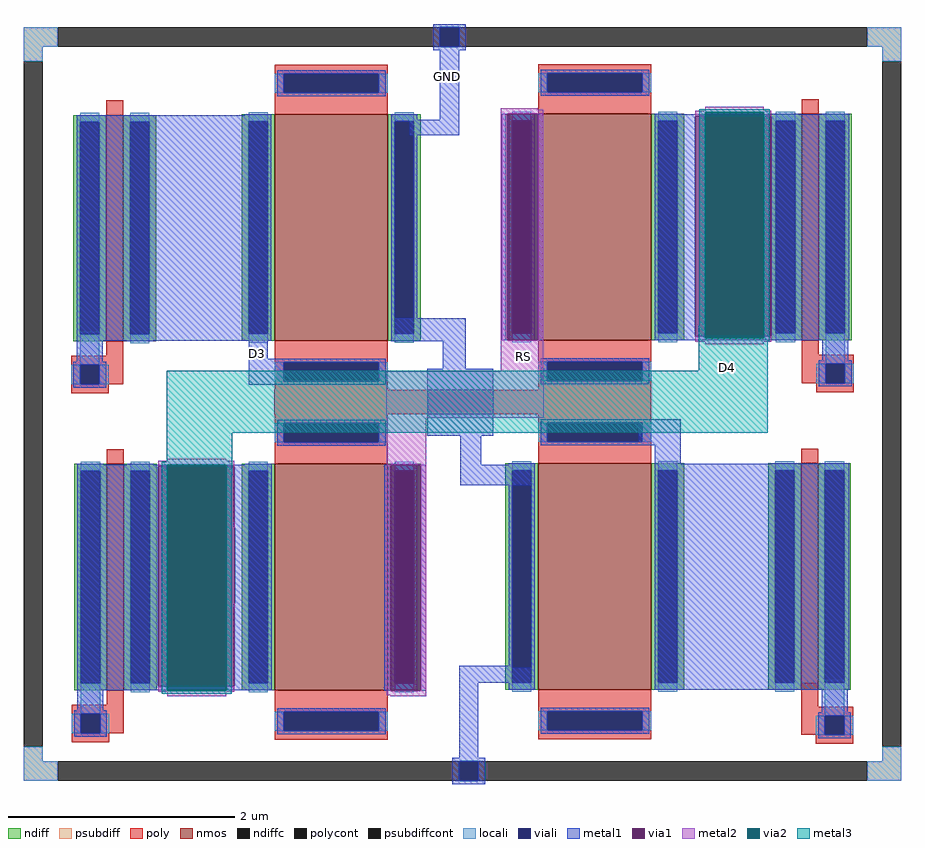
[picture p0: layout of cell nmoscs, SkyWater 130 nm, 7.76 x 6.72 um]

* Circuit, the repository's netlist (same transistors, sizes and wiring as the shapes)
** sch_path: /home/deboradmk/opamp/mag/nmoscs.sch
.subckt nmoscs D4 D3 RS GND
*.PININFO RS:B D4:B D3:B GND:B
XM3 D3 D3 GND GND sky130_fd_pr__nfet_01v8 L=1 W=2 nf=1 m=2
XM4 D4 D3 RS GND sky130_fd_pr__nfet_01v8 L=1 W=2 nf=1 m=2
XM1 D3 D3 D3 GND sky130_fd_pr__nfet_01v8 L=0.15 W=2 nf=1 m=2
XM2 D4 D4 D4 GND sky130_fd_pr__nfet_01v8 L=0.15 W=2 nf=1 m=2
.ends
.end

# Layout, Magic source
magic
tech sky130A
magscale 1 2
<< psubdiff >>
rect -386 1226 -326 1260
rect 1106 1226 1166 1260
rect -386 1200 -352 1226
rect 1132 1200 1166 1226
rect -386 -38 -352 -12
rect 1132 -38 1166 -12
rect -386 -72 -326 -38
rect 1106 -72 1166 -38
<< psubdiffcont >>
rect -326 1226 1106 1260
rect -386 -12 -352 1200
rect 1132 -12 1166 1200
rect -326 -72 1106 -38
<< poly >>
rect -240 679 -210 705
rect -302 663 -210 679
rect -302 629 -286 663
rect -252 629 -210 663
rect 990 681 1020 707
rect 990 665 1082 681
rect 990 631 1032 665
rect 1066 631 1082 665
rect -302 613 -236 629
rect 57 576 724 619
rect 1016 615 1082 631
rect -239 62 -209 88
rect -301 46 -209 62
rect -301 12 -285 46
rect -251 12 -209 46
rect 989 59 1019 101
rect 989 43 1081 59
rect -301 -4 -235 12
rect 989 9 1031 43
rect 1065 9 1081 43
rect 1015 -7 1081 9
<< polycont >>
rect -286 629 -252 663
rect 1032 631 1066 665
rect -285 12 -251 46
rect 1031 9 1065 43
<< locali >>
rect -386 1226 -326 1260
rect 1106 1226 1166 1260
rect -386 1200 -352 1226
rect 1132 1200 1166 1226
rect -286 663 -252 722
rect 1032 665 1066 723
rect -302 629 -286 663
rect -252 629 -236 663
rect 1016 631 1032 665
rect 1066 631 1082 665
rect 1032 630 1066 631
rect -285 46 -251 104
rect -301 12 -285 46
rect -251 12 -235 46
rect 1031 43 1065 106
rect 1015 9 1031 43
rect 1065 9 1081 43
rect -386 -38 -352 -12
rect 1132 -38 1166 -12
rect -386 -72 -326 -38
rect 1106 -72 1166 -38
<< viali >>
rect 350 1226 384 1260
rect -286 629 -252 663
rect 1032 631 1066 665
rect -285 12 -251 46
rect 1031 9 1065 43
rect 384 -72 418 -38
<< metal1 >>
rect 338 1260 396 1266
rect 338 1226 350 1260
rect 384 1226 396 1260
rect 338 1220 396 1226
rect -292 706 52 1105
rect 350 1097 384 1220
rect 297 1069 384 1097
rect -292 669 -246 706
rect 12 674 46 706
rect 264 705 396 746
rect 459 707 469 1107
rect 523 707 533 1107
rect 730 1103 1074 1106
rect 730 714 802 1103
rect 936 714 1074 1103
rect 730 707 1074 714
rect -298 663 -240 669
rect -298 629 -286 663
rect -252 629 -240 663
rect -298 623 -240 629
rect 12 628 74 674
rect 355 656 396 705
rect 1026 671 1072 707
rect 1020 665 1078 671
rect 328 538 444 656
rect 1020 631 1032 665
rect 1066 631 1078 665
rect 1020 625 1078 631
rect 386 487 423 538
rect 702 521 776 567
rect 730 488 776 521
rect -291 484 53 487
rect -291 95 -148 484
rect -14 375 53 484
rect -13 242 53 375
rect -14 95 53 242
rect -291 88 53 95
rect -291 52 -245 88
rect 252 87 262 487
rect 316 87 326 487
rect 386 450 518 487
rect 384 128 477 131
rect 384 101 512 128
rect -297 46 -239 52
rect -297 12 -285 46
rect -251 12 -239 46
rect -297 6 -239 12
rect 384 -32 418 101
rect 730 89 1074 488
rect 1025 49 1071 89
rect 1019 43 1077 49
rect 1019 9 1031 43
rect 1065 9 1077 43
rect 1019 3 1077 9
rect 372 -38 430 -32
rect 372 -72 384 -38
rect 418 -72 430 -38
rect 372 -78 430 -72
<< via1 >>
rect 469 707 523 1107
rect 802 714 936 1103
rect -148 375 -14 484
rect -148 242 -13 375
rect -148 95 -14 242
rect 262 87 316 487
<< metal2 >>
rect 458 1114 523 1117
rect 458 1107 533 1114
rect 819 1113 923 1120
rect 458 707 469 1107
rect 523 707 533 1107
rect 458 652 533 707
rect 802 1110 936 1113
rect 802 1103 819 1110
rect 923 1103 936 1110
rect 802 710 819 714
rect 923 710 936 714
rect 802 704 936 710
rect 819 700 923 704
rect 255 570 534 652
rect -132 494 -28 497
rect -148 487 -14 494
rect -148 484 -132 487
rect -28 484 -14 487
rect 256 487 326 570
rect -14 375 -13 385
rect -14 232 -13 242
rect -148 87 -132 95
rect -28 87 -14 95
rect -148 85 -14 87
rect 256 87 262 487
rect 316 87 326 487
rect -132 77 -28 85
rect 256 79 326 87
rect 262 77 326 79
<< via2 >>
rect 819 1103 923 1110
rect 819 714 923 1103
rect 819 710 923 714
rect -132 484 -28 487
rect -132 95 -28 484
rect -132 87 -28 95
<< metal3 >>
rect 809 1110 933 1115
rect 809 732 819 1110
rect 808 710 819 732
rect 923 710 933 1110
rect 808 705 933 710
rect 808 653 930 705
rect -133 543 930 653
rect -133 492 -17 543
rect -142 487 -17 492
rect -142 87 -132 487
rect -28 468 -17 487
rect -28 87 -18 468
rect -142 82 -18 87
use sky130_fd_pr__nfet_01v8_4HFSKE  sky130_fd_pr__nfet_01v8_4HFSKE_0
transform 1 0 -225 0 1 905
box -73 -226 73 226
use sky130_fd_pr__nfet_01v8_4HFSKE  sky130_fd_pr__nfet_01v8_4HFSKE_1
transform 1 0 1005 0 1 907
box -73 -226 73 226
use sky130_fd_pr__nfet_01v8_4HFSKE  sky130_fd_pr__nfet_01v8_4HFSKE_2
transform 1 0 1004 0 1 289
box -73 -226 73 226
use sky130_fd_pr__nfet_01v8_4HFSKE  sky130_fd_pr__nfet_01v8_4HFSKE_3
transform 1 0 -224 0 1 288
box -73 -226 73 226
use sky130_fd_pr__nfet_01v8_ZY4669  sky130_fd_pr__nfet_01v8_ZY4669_0
transform 1 0 624 0 1 598
box -158 -597 158 597
use sky130_fd_pr__nfet_01v8_ZY4669  sky130_fd_pr__nfet_01v8_ZY4669_1
transform 1 0 158 0 1 597
box -158 -597 158 597
<< labels >>
flabel metal1 364 1173 364 1173 0 FreeSans 800 0 0 0 GND
port 0 nsew
flabel metal1 27 684 27 684 0 FreeSans 800 0 0 0 D3
port 1 nsew
flabel metal3 859 659 859 659 0 FreeSans 800 0 0 0 D4
port 3 nsew
flabel metal2 498 678 498 678 0 FreeSans 800 0 0 0 RS
port 5 nsew
<< end >>

# cell sky130_fd_pr__nfet_01v8_4HFSKE: kit device sky130_fd_pr__nfet_01v8, w 2 l 0.15 m 1 nf 1 diffcov 100 polycov 100 guard 0 glc 1 grc 1 gtc 1 gbc 1 tbcov 100 rlcov 100 topc 0 botc 0 poverlap 0 doverlap 1 lmin 0.15 wmin 0.42 compatible {sky130_fd_pr__nfet_01v8 sky130_fd_pr__nfet_01v8_lvt sky130_fd_bs_flash__special_sonosfet_star sky130_fd_pr__nfet_g5v0d10v5 sky130_fd_pr__nfet_05v0_nvt sky130_fd_pr__nfet_03v3_nvt} full_metal 1 viasrc 100 viadrn 100 viagate 100 viagb 0 viagr 0 viagl 0 viagt 0

# cell sky130_fd_pr__nfet_01v8_ZY4669: kit device sky130_fd_pr__nfet_01v8, w 2 l 1 m 2 nf 1 diffcov 100 polycov 100 guard 0 glc 1 grc 1 gtc 1 gbc 1 tbcov 100 rlcov 100 topc 1 botc 1 poverlap 0 doverlap 1 lmin 0.15 wmin 0.42 compatible {sky130_fd_pr__nfet_01v8 sky130_fd_pr__nfet_01v8_lvt sky130_fd_bs_flash__special_sonosfet_star sky130_fd_pr__nfet_g5v0d10v5 sky130_fd_pr__nfet_05v0_nvt sky130_fd_pr__nfet_03v3_nvt} full_metal 1 viasrc 100 viadrn 100 viagate 100 viagb 0 viagr 0 viagl 0 viagt 0
